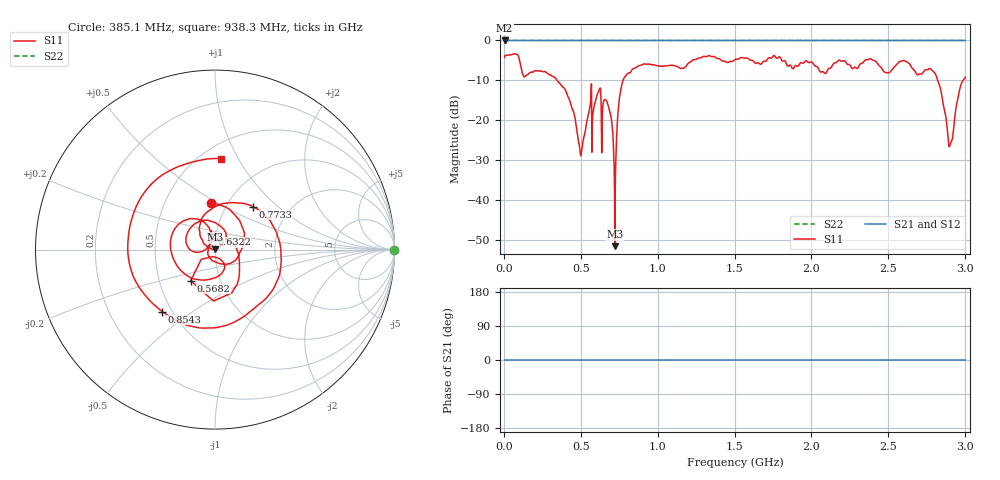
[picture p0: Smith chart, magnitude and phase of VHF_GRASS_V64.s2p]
!Keysight Technologies N9923A: A.08.09
!Date: Thursday, 02 August 2018 08:29:56
!Timezone: (GMT+08:00) Kuala Lumpur, Singapore
!Model: N9923A
!Serial: MY52412143
!GPS Latitude:
!GPS Longitude:
!GPS TimeStamp: 0001-01-01 00:00:00Z
!GPS Seconds Since Last Read: 0
!CHECKSUM:0533388516
!Correction: S11(ON U)S21()S12()S22()
!S2P File: Measurements:S11,S21,S12,S22:
# Hz S DB R 50
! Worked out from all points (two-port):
!   3000 points, 2 MHz to 3.002 GHz, reference 50 ohm
!   highest |S21| = 0.00 dB at 2 MHz (marker M1); lowest = 0.0 dB at 2 MHz (marker M2)
!   |S21| within 3 dB of the highest: start of sweep to end of sweep
!   lowest |S11| = -51.5 dB at 719.2 MHz (marker M3), VSWR 1.01, Z = 50.2 + j0.195 ohm
!   |S11| at or under -10 dB: 344 MHz to 772.4 MHz (428.4 MHz wide, 76.7 % of centre); 2.822 GHz to 2.986 GHz (164.7 MHz wide, 5.67 % of centre)
!   |S22| runs from 0.0 to 0.0 dB; largest |S21 - S12| = 0
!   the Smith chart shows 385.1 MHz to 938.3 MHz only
!   S11 on the Smith chart (normalised r, x): 385.1 MHz: 0.84, +0.46; 568.2 MHz: 0.72, -0.26; 632.2 MHz: 0.95, +0.17; 773.3 MHz: 1.32, +0.70; 854.3 MHz: 0.44, -0.38; 938.3 MHz: 0.62, +0.85
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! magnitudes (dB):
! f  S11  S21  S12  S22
! 2 MHz  -4.2  0.0  0.0  0.0
! 385.1 MHz  -11.8  0.0  0.0  0.0
! 502.2 MHz  -27.9  0.0  0.0  0.0
! 568.2 MHz  -13.2  0.0  0.0  0.0
! 613.2 MHz  -12.8  0.0  0.0  0.0
! 632.2 MHz  -20.9  0.0  0.0  0.0
! 683.2 MHz  -17.3  0.0  0.0  0.0
! 719.2 MHz  -51.5  0.0  0.0  0.0
! 748.2 MHz  -14.8  0.0  0.0  0.0
! 773.3 MHz  -9.9  0.0  0.0  0.0
! 854.3 MHz  -6.9  0.0  0.0  0.0
! 938.3 MHz  -5.9  0.0  0.0  0.0
! 1.002 GHz  -6.3  0.0  0.0  0.0
! 1.503 GHz  -4.8  0.0  0.0  0.0
! 2.003 GHz  -5.4  0.0  0.0  0.0
! 2.503 GHz  -8.1  0.0  0.0  0.0
! 2.597 GHz  -5.0  0.0  0.0  0.0
! 2.793 GHz  -7.8  0.0  0.0  0.0
! 2.839 GHz  -11.9  0.0  0.0  0.0
! 2.904 GHz  -25.9  0.0  0.0  0.0
! 2.962 GHz  -12.8  0.0  0.0  0.0
! 3.002 GHz  -9.2  0.0  0.0  0.0
